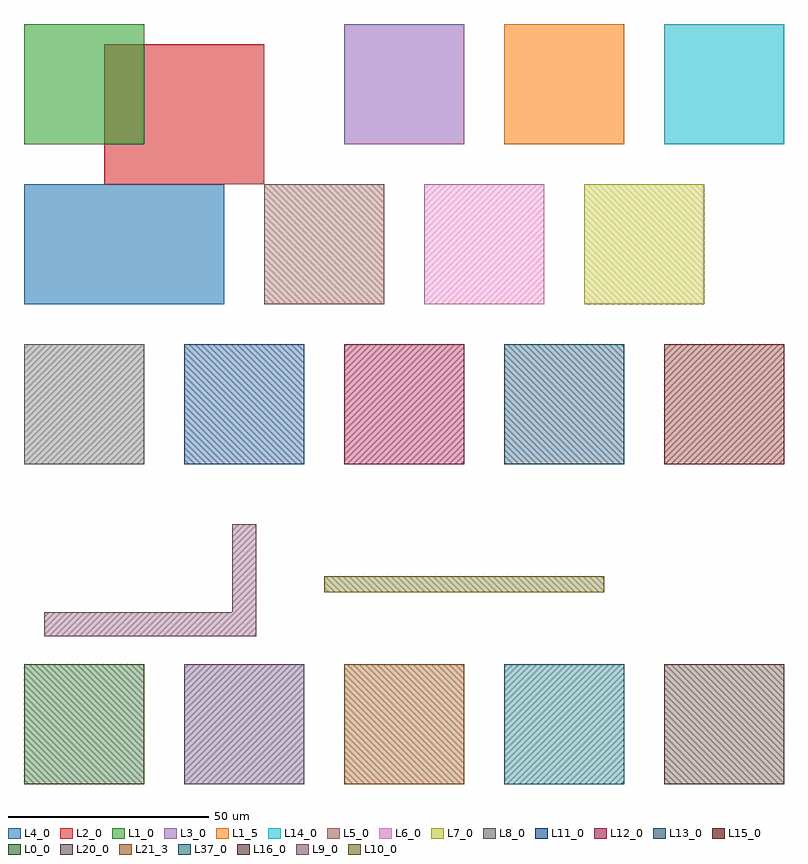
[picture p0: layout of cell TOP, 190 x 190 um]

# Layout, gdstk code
import gdstk
lib = gdstk.Library(unit=1e-6, precision=1e-09)
def R(c, l, rs):  # rectangles x0, y0, x1, y1
    for r in rs: c.add(gdstk.rectangle(r[:2], r[2:], *l))
L0_0 = (0, 0)
L1_0 = (1, 0)
L1_5 = (1, 5)
L2_0 = (2, 0)
L3_0 = (3, 0)
L4_0 = (4, 0)
L5_0 = (5, 0)
L6_0 = (6, 0)
L7_0 = (7, 0)
L8_0 = (8, 0)
L9_0 = (9, 0)
L10_0 = (10, 0)
L11_0 = (11, 0)
L12_0 = (12, 0)
L13_0 = (13, 0)
L14_0 = (14, 0)
L15_0 = (15, 0)
L16_0 = (16, 0)
L20_0 = (20, 0)
L21_3 = (21, 3)
L37_0 = (37, 0)

top = lib.new_cell('TOP')
R(top, L0_0, [(5,5,35,35)])
R(top, L1_0, [(5,165,35,195)])
R(top, L1_5, [(125,165,155,195)])
R(top, L2_0, [(25,155,65,190)])
R(top, L3_0, [(85,165,115,195)])
R(top, L4_0, [(5,125,55,155)])
R(top, L5_0, [(65,125,95,155)])
R(top, L6_0, [(105,125,135,155)])
R(top, L7_0, [(145,125,175,155)])
R(top, L8_0, [(5,85,35,115)])
R(top, L11_0, [(45,85,75,115)])
R(top, L12_0, [(85,85,115,115)])
R(top, L13_0, [(125,85,155,115)])
R(top, L14_0, [(165,165,195,195)])
R(top, L15_0, [(165,85,195,115)])
R(top, L16_0, [(165,5,195,35)])
R(top, L20_0, [(45,5,75,35)])
R(top, L21_3, [(85,5,115,35)])
R(top, L37_0, [(125,5,155,35)])
top.add(gdstk.FlexPath([(10,45),(60,45),(60,70)], 6, ends="flush", simple_path=True, layer=9, datatype=0))  # L9_0
top.add(gdstk.FlexPath([(80,55),(150,55)], 4, ends="flush", simple_path=True, layer=10, datatype=0))  # L10_0

lib.write_gds('TOP.gds')
